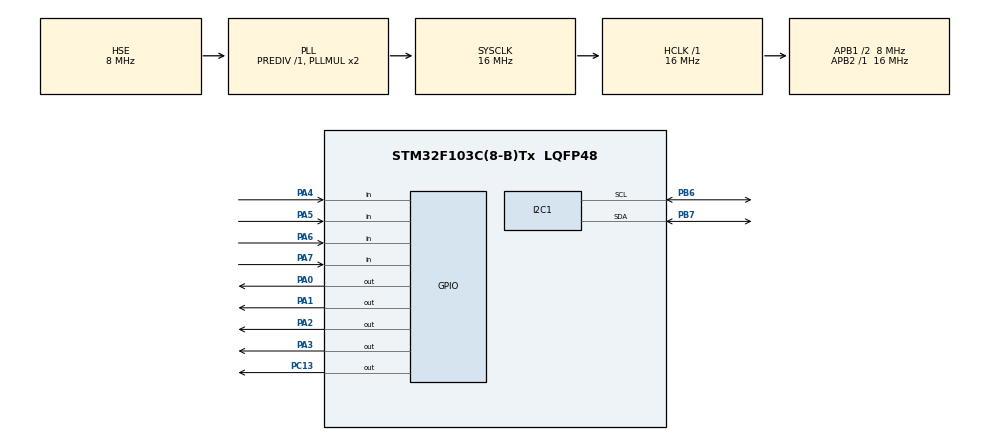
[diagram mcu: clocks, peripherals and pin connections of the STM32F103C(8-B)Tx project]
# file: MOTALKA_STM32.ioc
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Mcu.Family=STM32F1
Mcu.Name=STM32F103C(8-B)Tx
Mcu.Package=LQFP48
NVIC.PriorityGroup=NVIC_PRIORITYGROUP_4
PA0-WKUP.Signal=GPIO_Output
PA1.Signal=GPIO_Output
PA13.Mode=Serial_Wire
PA13.Signal=SYS_JTMS-SWDIO
PA14.Mode=Serial_Wire
PA14.Signal=SYS_JTCK-SWCLK
PA2.Signal=GPIO_Output
PA3.Signal=GPIO_Output
PA4.GPIO_PuPd=GPIO_PULLUP
PA4.Signal=GPIO_Input
PA5.GPIO_PuPd=GPIO_PULLUP
PA5.Signal=GPIO_Input
PA6.GPIO_PuPd=GPIO_PULLUP
PA6.Signal=GPIO_Input
PA7.GPIO_PuPd=GPIO_PULLUP
PA7.Signal=GPIO_Input
PB6.Mode=I2C
PB6.Signal=I2C1_SCL
PB7.Mode=I2C
PB7.Signal=I2C1_SDA
PC13-TAMPER-RTC.Signal=GPIO_Output
PD0-OSC_IN.Mode=HSE-External-Oscillator
PD0-OSC_IN.Signal=RCC_OSC_IN
PD1-OSC_OUT.Mode=HSE-External-Oscillator
PD1-OSC_OUT.Signal=RCC_OSC_OUT
ProjectManager.HeapSize=0x200
ProjectManager.StackSize=0x400
ProjectManager.TargetToolchain=STM32CubeIDE
RCC.AHBFreq_Value=16000000
RCC.APB1CLKDivider=RCC_HCLK_DIV2
RCC.APB1Freq_Value=8000000
RCC.APB1TimFreq_Value=16000000
RCC.APB2Freq_Value=16000000
RCC.APB2TimFreq_Value=16000000
RCC.HCLKFreq_Value=16000000
RCC.PLLSourceVirtual=RCC_PLLSOURCE_HSE
RCC.SYSCLKFreq_VALUE=16000000
RCC.SYSCLKSource=RCC_SYSCLKSOURCE_PLLCLK
RCC.USBFreq_Value=16000000
board=custom

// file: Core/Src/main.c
/* USER CODE BEGIN Header */
/**
 ******************************************************************************
 * @file           : main.c
 * @brief          : Main program body
 ******************************************************************************
 * @attention
 *
 * Copyright (c) 2025 STMicroelectronics.
 * All rights reserved.
 *
 * This software is licensed under terms that can be found in the LICENSE file
 * in the root directory of this software component.
 * If no LICENSE file comes with this software, it is provided AS-IS.
 *
 ******************************************************************************
 */
/* USER CODE END Header */
#include "main.h"

/* USER CODE BEGIN Includes */
#include <stdio.h>   // Содержит саму функцию sprintf
#include <string.h>  // Нужна для функции strlen (чтобы мерить длину строки для HAL_UART_Transmit)
#include "liquidcrystal_i2c.h"
#include "Keyboard.h"
#include "menu.h"
#include "eeprom.h"
/* USER CODE END Includes */

I2C_HandleTypeDef hi2c1;

void SystemClock_Config(void);
static void MX_GPIO_Init(void);
static void MX_I2C1_Init(void);

/* USER CODE BEGIN 0 */
#define DEVICE_ADDR (0x27 << 1)

uint16_t VirtAddVarTab[NB_OF_VAR] = { 0x5555, 0x6666, 0x7777 };
uint16_t VarDataTab[NB_OF_VAR] = { 0, 0, 0 };
uint16_t VarValue = 0;

void BlinkLedNTimes(uint8_t n) {
	for (int i = 0; i < n; i++) {
		HAL_GPIO_WritePin(GPIOC, GPIO_PIN_13, GPIO_PIN_RESET);
		HAL_Delay(200);
		HAL_GPIO_WritePin(GPIOC, GPIO_PIN_13, GPIO_PIN_SET);
		HAL_Delay(200);
	}
}

void printKeyCode(uint8_t keyCode) {
	char buf[32];

	sprintf(buf, "Key=%d", keyCode); //\r\n
	HAL_GPIO_WritePin(GPIOC, GPIO_PIN_13, GPIO_PIN_RESET);
	HD44780_Clear();
	HAL_Delay(5);
	HD44780_SetCursor(0, 0);
	HD44780_PrintStr(buf);
}

/* USER CODE END 0 */

//MenuItem menu_hard_setings;
//MenuItem menu_save_mem;
//MenuItem menu_load_mem;
//MenuItem menu_stacker;
//MenuItem menu_winding_motor;
//MenuItem menu_br_sens_enable;
//MenuItem menu_br_sens_norm;
//MenuItem menu_screw_pitch;
//MenuItem menu_encoder_steps;
//MenuItem menu_engine_steps;
//MenuItem menu_engine_type;
//MenuItem menu_pulse_length;
//MenuItem menu_stepper_dir_cor;
//MenuItem menu_max_speed;
//MenuItem menu_finish_speed;
//MenuItem menu_stop_time;

int main(void) {

	/* MCU Configuration--------------------------------------------------------*/

	/* Reset of all peripherals, Initializes the Flash interface and the Systick. */
	HAL_Init();

	/* Configure the system clock */
	SystemClock_Config();

	/* Initialize all configured peripherals */
	MX_GPIO_Init();
	MX_I2C1_Init();
	/* USER CODE BEGIN 2 */

	/*  sprintf(msg, "Сканирование завершено. Найдено устройств: %d\r\n", count);
	 HAL_UART_Transmit(&huart1, (uint8_t*)msg, strlen(msg), 100);*/

	HD44780_Init(2);
	HD44780_Clear();
	HD44780_SetCursor(0, 0);
	HD44780_PrintStr("HELLO WORLD!");
	HD44780_SetCursor(0, 1);
	HD44780_PrintStr("RobotChip");
	//HAL_Delay(2000);

	// 2. Разблокируем Flash-память (обязательно для работы библиотеки!)
	HAL_FLASH_Unlock();

	// 3. Инициализируем библиотеку эмуляции EEPROM
	if (EE_Init() != HAL_OK) {
		// Если вернулась ошибка, значит память повреждена.
		// Здесь можно обработать ошибку или отформатировать память через EE_Format()
		HD44780_Clear();
		HD44780_SetCursor(0, 0);
		HD44780_PrintStr("EE_Init Error!");
		return 0;
	}

	char buf[32];
//	uint8_t prevKeyCode = KEYCODE_NOPRESSED;
//	uint32_t test_timer = 0;
//	uint32_t keyboard_timer = 0;

	// Глобальная переменная нашей кнопки объявлена в keyboard.c
	extern Button_t myButton;

	createMenu();

	/* USER CODE END 2 */

	/* Infinite loop */
	/* USER CODE BEGIN WHILE */
	while (1) {

		uint8_t keyCode = Process_Button(&myButton);

		if (keyCode != KEYCODE_NOPRESSED) {

			printKeyCode(keyCode);

			HAL_GPIO_WritePin(GPIOC, GPIO_PIN_13, GPIO_PIN_SET);

			if (keyCode == KEY_MENU) {

				menu();

				HD44780_Clear();
				HD44780_SetCursor(0, 0);
				HD44780_PrintStr("HELLO WORLD!");
			}
		}

		/* USER CODE END WHILE */

	}
}

void SystemClock_Config(void) {
	RCC_OscInitTypeDef RCC_OscInitStruct = { 0 };
	RCC_ClkInitTypeDef RCC_ClkInitStruct = { 0 };

	/** Initializes the RCC Oscillators according to the specified parameters
	 * in the RCC_OscInitTypeDef structure.
	 */
	RCC_OscInitStruct.OscillatorType = RCC_OSCILLATORTYPE_HSE;
	RCC_OscInitStruct.HSEState = RCC_HSE_ON;
	RCC_OscInitStruct.HSEPredivValue = RCC_HSE_PREDIV_DIV1;
	RCC_OscInitStruct.HSIState = RCC_HSI_ON;
	RCC_OscInitStruct.PLL.PLLState = RCC_PLL_ON;
	RCC_OscInitStruct.PLL.PLLSource = RCC_PLLSOURCE_HSE;
	RCC_OscInitStruct.PLL.PLLMUL = RCC_PLL_MUL2;
	if (HAL_RCC_OscConfig(&RCC_OscInitStruct) != HAL_OK) {
		Error_Handler();
	}

	/** Initializes the CPU, AHB and APB buses clocks
	 */
	RCC_ClkInitStruct.ClockType = RCC_CLOCKTYPE_HCLK | RCC_CLOCKTYPE_SYSCLK
			| RCC_CLOCKTYPE_PCLK1 | RCC_CLOCKTYPE_PCLK2;
	RCC_ClkInitStruct.SYSCLKSource = RCC_SYSCLKSOURCE_PLLCLK;
	RCC_ClkInitStruct.AHBCLKDivider = RCC_SYSCLK_DIV1;
	RCC_ClkInitStruct.APB1CLKDivider = RCC_HCLK_DIV2;
	RCC_ClkInitStruct.APB2CLKDivider = RCC_HCLK_DIV1;

	if (HAL_RCC_ClockConfig(&RCC_ClkInitStruct, FLASH_LATENCY_0) != HAL_OK) {
		Error_Handler();
	}
}

static void MX_I2C1_Init(void) {

	hi2c1.Instance = I2C1;
	hi2c1.Init.ClockSpeed = 100000;
	hi2c1.Init.DutyCycle = I2C_DUTYCYCLE_2;
	hi2c1.Init.OwnAddress1 = 0;
	hi2c1.Init.AddressingMode = I2C_ADDRESSINGMODE_7BIT;
	hi2c1.Init.DualAddressMode = I2C_DUALADDRESS_DISABLE;
	hi2c1.Init.OwnAddress2 = 0;
	hi2c1.Init.GeneralCallMode = I2C_GENERALCALL_DISABLE;
	hi2c1.Init.NoStretchMode = I2C_NOSTRETCH_DISABLE;
	if (HAL_I2C_Init(&hi2c1) != HAL_OK) {
		Error_Handler();
	}

}

static void MX_GPIO_Init(void) {
	GPIO_InitTypeDef GPIO_InitStruct = { 0 };

	/* GPIO Ports Clock Enable */
	__HAL_RCC_GPIOC_CLK_ENABLE();
	__HAL_RCC_GPIOD_CLK_ENABLE();
	__HAL_RCC_GPIOA_CLK_ENABLE();
	__HAL_RCC_GPIOB_CLK_ENABLE();

	/*Configure GPIO pin Output Level */
	HAL_GPIO_WritePin(GPIOC, GPIO_PIN_13, GPIO_PIN_SET);

	/*Configure GPIO pin Output Level */
	HAL_GPIO_WritePin(GPIOA, GPIO_PIN_0 | GPIO_PIN_1 | GPIO_PIN_2 | GPIO_PIN_3,
			GPIO_PIN_RESET);

	/*Configure GPIO pin : PC13 */
	GPIO_InitStruct.Pin = GPIO_PIN_13;
	GPIO_InitStruct.Mode = GPIO_MODE_OUTPUT_PP;
	GPIO_InitStruct.Pull = GPIO_NOPULL;
	GPIO_InitStruct.Speed = GPIO_SPEED_FREQ_LOW;
	HAL_GPIO_Init(GPIOC, &GPIO_InitStruct);

	/*Configure GPIO pins : PA0 PA1 PA2 PA3 */
	GPIO_InitStruct.Pin = GPIO_PIN_0 | GPIO_PIN_1 | GPIO_PIN_2 | GPIO_PIN_3;
	GPIO_InitStruct.Mode = GPIO_MODE_OUTPUT_PP;
	GPIO_InitStruct.Pull = GPIO_NOPULL;
	GPIO_InitStruct.Speed = GPIO_SPEED_FREQ_LOW;
	HAL_GPIO_Init(GPIOA, &GPIO_InitStruct);

	/*Configure GPIO pins : PA4 PA5 PA6 PA7 */
	GPIO_InitStruct.Pin = GPIO_PIN_4 | GPIO_PIN_5 | GPIO_PIN_6 | GPIO_PIN_7;
	GPIO_InitStruct.Mode = GPIO_MODE_INPUT;
	GPIO_InitStruct.Pull = GPIO_PULLUP;
	HAL_GPIO_Init(GPIOA, &GPIO_InitStruct);

}

void Error_Handler(void) {
	__disable_irq();
	while (1) {
	}
}
